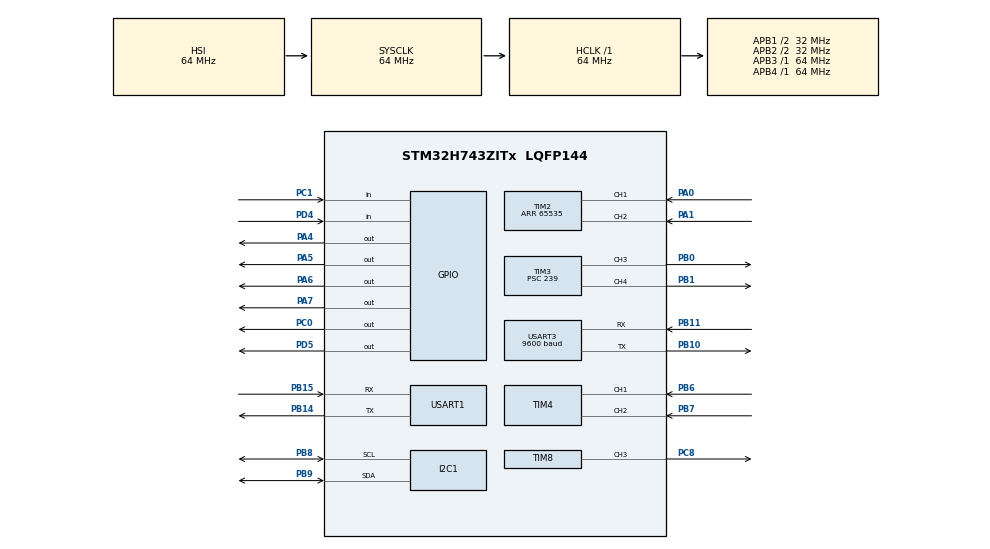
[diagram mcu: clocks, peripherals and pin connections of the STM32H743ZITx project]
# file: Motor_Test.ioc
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CORTEX_M7.default_mode_Activation=1
I2C1.NoStretchMode=I2C_NOSTRETCH_DISABLE
I2C1.Timing=0x00707CBB
Mcu.Family=STM32H7
Mcu.Name=STM32H743ZITx
Mcu.Package=LQFP144
NVIC.PriorityGroup=NVIC_PRIORITYGROUP_4
NVIC.USART3_IRQn=true\:0\:0\:false\:false\:true\:true\:true\:true
PA0.Signal=S_TIM2_CH1_ETR
PA1.Signal=S_TIM2_CH2
PA13\ (JTMS/SWDIO).Mode=Serial_Wire
PA13\ (JTMS/SWDIO).Signal=DEBUG_JTMS-SWDIO
PA14\ (JTCK/SWCLK).Mode=Serial_Wire
PA14\ (JTCK/SWCLK).Signal=DEBUG_JTCK-SWCLK
PA4.Signal=GPIO_Output
PA5.Signal=GPIO_Output
PA6.Signal=GPIO_Output
PA7.Signal=GPIO_Output
PB0.Signal=S_TIM3_CH3
PB1.Signal=S_TIM3_CH4
PB10.Mode=Asynchronous
PB10.Signal=USART3_TX
PB11.Mode=Asynchronous
PB11.Signal=USART3_RX
PB14.Mode=Asynchronous
PB14.Signal=USART1_TX
PB15.Mode=Asynchronous
PB15.Signal=USART1_RX
PB6.Signal=S_TIM4_CH1
PB7.Signal=S_TIM4_CH2
PB8.Mode=I2C
PB8.Signal=I2C1_SCL
PB9.Mode=I2C
PB9.Signal=I2C1_SDA
PC0.Signal=GPIO_Output
PC1.Signal=GPIO_Input
PC8.Signal=S_TIM8_CH3
PD4.GPIO_PuPd=GPIO_PULLUP
PD4.Signal=GPIO_Input
PD5.PinState=GPIO_PIN_SET
PD5.Signal=GPIO_Output
ProjectManager.HeapSize=0x200
ProjectManager.StackSize=0x400
ProjectManager.TargetToolchain=MDK-ARM V5.32
RCC.ADCFreq_Value=129000000
RCC.APB1Freq_Value=32000000
RCC.APB2Freq_Value=32000000
RCC.APB3Freq_Value=64000000
RCC.APB4Freq_Value=64000000
RCC.CortexFreq_Value=64000000
RCC.D2PPRE1=RCC_APB1_DIV2
RCC.D2PPRE2=RCC_APB2_DIV2
RCC.HCLKFreq_Value=64000000
RCC.SYSCLKFreq_VALUE=64000000
RCC.USBFreq_Value=129000000
SH.S_TIM2_CH1_ETR.0=TIM2_CH1,Encoder_Interface
SH.S_TIM2_CH2.0=TIM2_CH2,Encoder_Interface
SH.S_TIM3_CH3.0=TIM3_CH3,PWM Generation3 CH3
SH.S_TIM3_CH4.0=TIM3_CH4,PWM Generation4 CH4
SH.S_TIM4_CH1.0=TIM4_CH1,Encoder_Interface
SH.S_TIM4_CH2.0=TIM4_CH2,Encoder_Interface
SH.S_TIM8_CH3.0=TIM8_CH3,PWM Generation3 CH3
TIM2.EncoderMode=TIM_ENCODERMODE_TI12
TIM2.IC1Filter=8
TIM2.Period=65535
TIM3.Channel-PWM\ Generation3\ CH3=TIM_CHANNEL_3
TIM3.Channel-PWM\ Generation4\ CH4=TIM_CHANNEL_4
TIM3.Period=999
TIM3.Prescaler=239
TIM4.EncoderMode=TIM_ENCODERMODE_TI12
TIM4.IC1Filter=8
TIM6.Prescaler=199
TIM8.AutoReloadPreload=TIM_AUTORELOAD_PRELOAD_ENABLE
TIM8.Channel-PWM\ Generation3\ CH3=TIM_CHANNEL_3
TIM8.Period=49
TIM8.Prescaler=199
USART1.VirtualMode-Asynchronous=VM_ASYNC
USART3.BaudRate=9600
USART3.VirtualMode-Asynchronous=VM_ASYNC
VP_TIM6_VS_ClockSourceINT.Mode=Enable_Timer
board=custom

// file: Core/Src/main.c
/* USER CODE BEGIN Header */
/**
  ******************************************************************************
  * @file           : main.c
  * @brief          : 智能小车主控程序入口文件
  * @details        : 实现双电机PID速度闭环控制，支持蓝牙遥控、OLED显示、
  *                  DHT11温湿度采集、蜂鸣器提示、超声波测距和水泵控制
  *
  *                  系统架构分层:
  *                  - BSP层(板级支持包): motor, encoder, pid, car, bluetooth,
  *                    hcsr04, debug, OLED, DHT11, Buzz, pump
  *                  - APP层(应用层): bluetooth_control
  *                  - Core层(硬件抽象层): HAL库驱动初始化
  *
  *                  主循环流程(50ms周期, 20Hz控制频率):
  *                  1. 循环状态输出(每20次循环输出一次)
  *                  2. 蓝牙遥控指令处理
  *                  3. 更新PID目标速度
  *                  4. 读取编码器速度(左右轮)
  *                  5. PID计算(左右轮独立)
  *                  6. 输出PWM控制电机
  *                  7. 蓝牙连接状态检测与OLED显示更新
  *                  8. DHT11温湿度读取(每1秒)
  *                  9. 超声波距离读取(每1秒)
  *                  10. 循环延时(50ms)
  ******************************************************************************
  * @attention
  *
  * Copyright (c) 2026 STMicroelectronics.
  * All rights reserved.
  *
  * This software is licensed under terms that can be found in the LICENSE file
  * in the root directory of this software component.
  * If no LICENSE file comes with this software, it is provided AS-IS.
  *
  ******************************************************************************
  */
/* USER CODE END Header */
#include "main.h"
#include "i2c.h"
#include "tim.h"
#include "usart.h"
#include "gpio.h"

/* USER CODE BEGIN Includes */
#include "motor.h"           /* 电机驱动模块 */
#include "car.h"             /* 小车控制模块 */
#include "encoder.h"         /* 编码器模块 */
#include "pid.h"             /* PID控制模块 */
#include "debug.h"           /* 调试模块(printf重定向) */
#include "bluetooth.h"       /* 蓝牙模块 */
#include "bluetooth_control.h" /* 蓝牙遥控模块 */
#include "OLED.h"            /* OLED显示模块 */
#include "buzz.h"            /* 蜂鸣器模块 */
#include "dht11.h"           /* DHT11温湿度传感器模块 */
#include "hcsr04.h"          /* 超声波模块 */
#include "stdio.h"           /* 标准输入输出库 */
/* USER CODE END Includes */

/* USER CODE BEGIN PV */
/** PID控制器实例 - 左电机 */
PID_TypeDef pid_left;
/** PID控制器实例 - 右电机 */
PID_TypeDef pid_right;

/** DHT11温湿度数据 */
DHT11_Data_t dht11_data;
/** DHT11读取计数器 */
uint32_t dht11_counter = 0;

/**
 * @defgroup PID参数配置
 * @{
 */
#define TARGET_SPEED    0.5f    /* 默认目标速度(m/s) */
#define KP              200.0f  /* 比例系数 - 影响响应速度 */
#define KI              50.0f   /* 积分系数 - 消除稳态误差 */
#define KD              10.0f   /* 微分系数 - 抑制振荡 */
/** @} */
/* USER CODE END PV */

void SystemClock_Config(void);
static void MPU_Config(void);

int main(void)
{

  /* MPU Configuration--------------------------------------------------------*/
  MPU_Config();

  /* MCU Configuration--------------------------------------------------------*/

  /* Reset of all peripherals, Initializes the Flash interface and the Systick. */
  HAL_Init();

  /* Configure the system clock */
  SystemClock_Config();

  /* Initialize all configured peripherals */
  MX_GPIO_Init();
  MX_TIM3_Init();
  MX_TIM2_Init();
  MX_USART1_UART_Init();
  MX_TIM6_Init();
  MX_TIM4_Init();
  MX_USART3_UART_Init();
  MX_I2C1_Init();
  MX_TIM8_Init();
  /* USER CODE BEGIN 2 */
  /* 初始化小车控制模块 */
  Car_Init();
  /* 初始化编码器模块 */
  Encoder_Init();
  /* 初始化调试模块(printf重定向) */
  Debug_Init();
  /* 初始化蓝牙模块 */
  Bluetooth_Init();
  /* 发送蓝牙就绪信号 */
  Bluetooth_SendString("Bluetooth Ready!\r\n");
  /* 初始化蓝牙遥控模块 */
  Bluetooth_Control_Init();
  /* 初始化蜂鸣器模块 */
  Buzz_Init();
  /* 初始化OLED显示模块 */
  OLED_Init();
  /* 清屏 */
  OLED_Clear();
  /* 显示蓝牙连接状态 */
  OLED_ShowString(0, 0, "BT: Disconnected", OLED_8X16);
  /* 显示温湿度标签 */
  OLED_ShowString(0, 16, "Temp:", OLED_8X16);
  OLED_ShowString(0, 32, "Humi:", OLED_8X16);
  /* 更新显示 */
  OLED_Update();
  /* 初始化DHT11温湿度传感器 */
  DHT11_Init();
  HAL_Delay(1000);
  /* 初始化超声波模块 */
  HCSR04_Init();
  /* 显示超声波距离标签 */
  OLED_ShowString(0, 48, "Dist:", OLED_8X16);
  OLED_Update();

  /* 初始化左电机PID控制器 */
  PID_Init(&pid_left, KP, KI, KD, 500.0f, 1000.0f);
  /* 初始化右电机PID控制器 */
  PID_Init(&pid_right, KP, KI, KD, 500.0f, 1000.0f);
  /* 设置左电机目标速度 */
  PID_SetTarget(&pid_left, Car_Speed.target_speed_left);
  /* 设置右电机目标速度 */
  PID_SetTarget(&pid_right, Car_Speed.target_speed_right);
  /* USER CODE END 2 */

  /* Infinite loop */
  while (1)
    {

    /* USER CODE BEGIN 3 */
        static uint32_t loop_count = 0;
        if(loop_count++ % 20 == 0)
        {
            printf("Loop running...\r\n");
        }

        /* 蓝牙遥控指令处理 */
        Bluetooth_Control_Update();

        /* 更新PID目标速度 */
        PID_SetTarget(&pid_left, Car_Speed.target_speed_left);
        PID_SetTarget(&pid_right, Car_Speed.target_speed_right);

        /* 读取左电机编码器速度 */
        float speed1 = Encoder_GetSpeed1();
        /* 读取右电机编码器速度 */
        float speed2 = Encoder_GetSpeed2();

        /* 左电机PID计算 */
        float pwm_left = PID_Calculate(&pid_left, speed1);
        /* 右电机PID计算 */
        float pwm_right = PID_Calculate(&pid_right, speed2);

        /* 输出PWM控制左电机 */
        Motor_Left(pwm_left);
        /* 输出PWM控制右电机 */
        Motor_Right(-pwm_right);

        /* 串口调试输出 */
        //printf("TargetL: %.2f\tTargetR: %.2f\tSpeed1: %.2f\tPWM1: %.1f\tSpeed2: %.2f\tPWM2: %.1f\r\n",
        //       Car_Speed.target_speed_left, Car_Speed.target_speed_right,
        //       speed1, pwm_left, speed2, pwm_right);

        /* 检查蓝牙连接状态 */
        static uint8_t last_bt_state = 0;
        Bluetooth_CheckConnectionTimeout();
        uint8_t bt_state = Bluetooth_IsConnected();
        if(bt_state != last_bt_state)
        {
            last_bt_state = bt_state;
            OLED_ClearArea(0, 0, 128, 16);
            if(bt_state == 1)
            {
                OLED_ShowString(0, 0, "BT: Connected", OLED_8X16);
                Buzz_BeepTwice(100, 200);
            }
            else
            {
                OLED_ShowString(0, 0, "BT: Disconnected", OLED_8X16);
            }
            OLED_Update();
            printf("BT State: %d\r\n", bt_state);
        }

        /* 读取温湿度数据(每1秒读取一次) */
        dht11_counter++;
        if(dht11_counter >= 20)
        {
            dht11_counter = 0;
            if(DHT11_ReadData(&dht11_data) == 0)
            {
                OLED_ClearArea(48, 16, 60, 16);
                OLED_ShowNum(48, 16, dht11_data.temperature_integer, 2, OLED_8X16);
                OLED_ShowChar(64, 16, '.', OLED_8X16);
                OLED_ShowNum(72, 16, dht11_data.temperature_decimal, 1, OLED_8X16);
                OLED_ShowChar(80, 16, 'C', OLED_8X16);

                OLED_ClearArea(48, 32, 60, 16);
                OLED_ShowNum(48, 32, dht11_data.humidity_integer, 2, OLED_8X16);
                OLED_ShowChar(64, 32, '.', OLED_8X16);
                OLED_ShowNum(72, 32, dht11_data.humidity_decimal, 1, OLED_8X16);
                OLED_ShowChar(80, 32, '%', OLED_8X16);
            }

            /* 读取超声波距离 */
            float distance = HCSR04_GetDistance_Avg();
            OLED_ClearArea(48, 48, 60, 16);
            if(distance > 0)
            {
                uint16_t dist_int = (uint16_t)distance;
                uint16_t dist_dec = (uint16_t)((distance - dist_int) * 10);
                OLED_ShowNum(48, 48, dist_int, 3, OLED_8X16);
                OLED_ShowChar(72, 48, '.', OLED_8X16);
                OLED_ShowNum(80, 48, dist_dec, 1, OLED_8X16);
                OLED_ShowChar(88, 48, 'c', OLED_8X16);
                OLED_ShowChar(96, 48, 'm', OLED_8X16);
            }
            else
            {
                OLED_ShowString(48, 48, "Err", OLED_8X16);
            }

            OLED_Update();
        }

        /* 50ms延时(20Hz控制频率) */
        HAL_Delay(50);
    }
  /* USER CODE END 3 */
}

void SystemClock_Config(void)
{
  RCC_OscInitTypeDef RCC_OscInitStruct = {0};
  RCC_ClkInitTypeDef RCC_ClkInitStruct = {0};

  /** Supply configuration update enable
  */
  HAL_PWREx_ConfigSupply(PWR_LDO_SUPPLY);

  /** Configure the main internal regulator output voltage
  */
  __HAL_PWR_VOLTAGESCALING_CONFIG(PWR_REGULATOR_VOLTAGE_SCALE3);

  while(!__HAL_PWR_GET_FLAG(PWR_FLAG_VOSRDY)) {}

  /** Initializes the RCC Oscillators according to the specified parameters
  * in the RCC_OscInitTypeDef structure.
  */
  RCC_OscInitStruct.OscillatorType = RCC_OSCILLATORTYPE_HSI;
  RCC_OscInitStruct.HSIState = RCC_HSI_DIV1;
  RCC_OscInitStruct.HSICalibrationValue = RCC_HSICALIBRATION_DEFAULT;
  RCC_OscInitStruct.PLL.PLLState = RCC_PLL_NONE;
  if (HAL_RCC_OscConfig(&RCC_OscInitStruct) != HAL_OK)
  {
    Error_Handler();
  }

  /** Initializes the CPU, AHB and APB buses clocks
  */
  RCC_ClkInitStruct.ClockType = RCC_CLOCKTYPE_HCLK|RCC_CLOCKTYPE_SYSCLK
                              |RCC_CLOCKTYPE_PCLK1|RCC_CLOCKTYPE_PCLK2
                              |RCC_CLOCKTYPE_D3PCLK1|RCC_CLOCKTYPE_D1PCLK1;
  RCC_ClkInitStruct.SYSCLKSource = RCC_SYSCLKSOURCE_HSI;
  RCC_ClkInitStruct.SYSCLKDivider = RCC_SYSCLK_DIV1;
  RCC_ClkInitStruct.AHBCLKDivider = RCC_HCLK_DIV1;
  RCC_ClkInitStruct.APB3CLKDivider = RCC_APB3_DIV1;
  RCC_ClkInitStruct.APB1CLKDivider = RCC_APB1_DIV2;
  RCC_ClkInitStruct.APB2CLKDivider = RCC_APB2_DIV2;
  RCC_ClkInitStruct.APB4CLKDivider = RCC_APB4_DIV1;

  if (HAL_RCC_ClockConfig(&RCC_ClkInitStruct, FLASH_LATENCY_1) != HAL_OK)
  {
    Error_Handler();
  }
}

 /* MPU Configuration */

void MPU_Config(void)
{
  MPU_Region_InitTypeDef MPU_InitStruct = {0};

  /* Disables the MPU */
  HAL_MPU_Disable();

  /** Initializes and configures the Region and the memory to be protected
  */
  MPU_InitStruct.Enable = MPU_REGION_ENABLE;
  MPU_InitStruct.Number = MPU_REGION_NUMBER0;
  MPU_InitStruct.BaseAddress = 0x0;
  MPU_InitStruct.Size = MPU_REGION_SIZE_4GB;
  MPU_InitStruct.SubRegionDisable = 0x87;
  MPU_InitStruct.TypeExtField = MPU_TEX_LEVEL0;
  MPU_InitStruct.AccessPermission = MPU_REGION_NO_ACCESS;
  MPU_InitStruct.DisableExec = MPU_INSTRUCTION_ACCESS_DISABLE;
  MPU_InitStruct.IsShareable = MPU_ACCESS_SHAREABLE;
  MPU_InitStruct.IsCacheable = MPU_ACCESS_NOT_CACHEABLE;
  MPU_InitStruct.IsBufferable = MPU_ACCESS_NOT_BUFFERABLE;

  HAL_MPU_ConfigRegion(&MPU_InitStruct);
  /* Enables the MPU */
  HAL_MPU_Enable(MPU_PRIVILEGED_DEFAULT);

}

void Error_Handler(void)
{
  __disable_irq();
  while (1)
  {
  }
}
